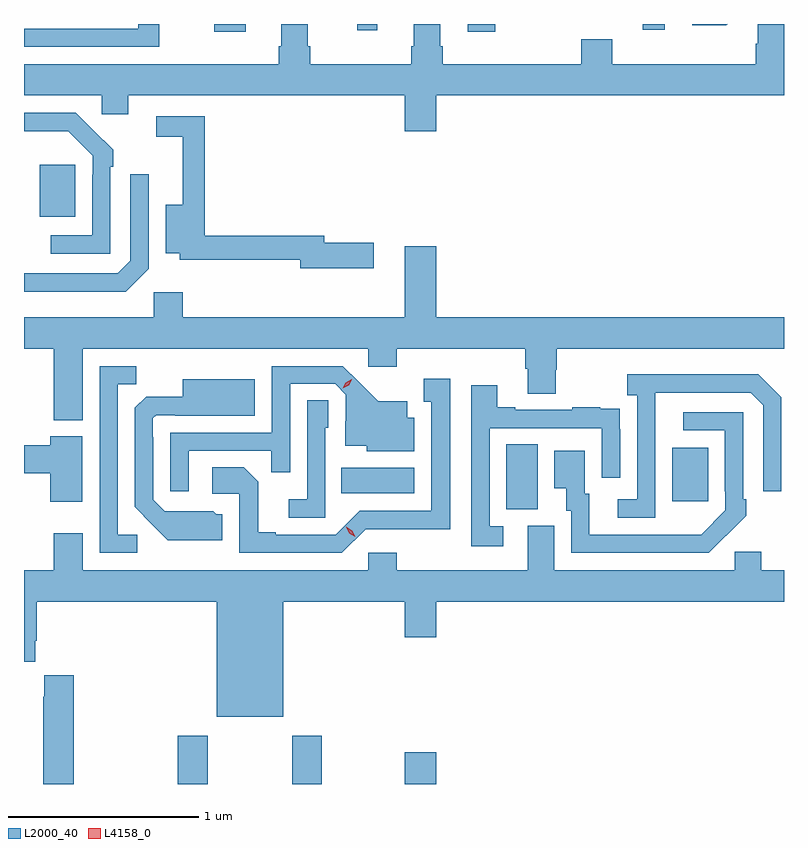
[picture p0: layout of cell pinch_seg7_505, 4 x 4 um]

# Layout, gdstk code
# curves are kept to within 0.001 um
import gdstk
lib = gdstk.Library(unit=1e-6, precision=1e-09)
def R(c, l, rs):  # rectangles x0, y0, x1, y1
    for r in rs: c.add(gdstk.rectangle(r[:2], r[2:], *l))
def P(c, l, *ps):  # polygons
    for p in ps: c.add(gdstk.Polygon(p, *l))
L2000_40 = (2000, 40)
L4158_0 = (4158, 0)

pinch_seg7_505 = lib.new_cell('pinch_seg7_505')
R(pinch_seg7_505, L2000_40, [(115.859,1074.248,116.019,1074.502), (116.464,1074.248,116.619,1074.502), (117.056,1074.248,117.22,1074.415), (117.59,1075.693,117.754,1076.036), (118.463,1075.737,118.651,1076.017), (116.722,1075.778,117.106,1075.912), (115.133,1077.233,115.321,1077.508), (116.053,1078.206,116.218,1078.248), (117.386,1078.206,117.532,1078.248), (116.806,1078.215,116.909,1078.248), (118.308,1078.218,118.423,1078.248)])
P(pinch_seg7_505, L2000_40, [(117.22,1077.872),(119.051,1077.872),(119.051,1078.248),(118.914,1078.248),(118.914,1078.145),(118.901,1078.145),(118.901,1078.036),(118.148,1078.036),(118.148,1078.169),(117.983,1078.169),(117.983,1078.036),(117.254,1078.036),(117.254,1078.132),(117.241,1078.132),(117.241,1078.248),(117.101,1078.248),(117.101,1078.132),(117.089,1078.132),(117.089,1078.036),(116.558,1078.036),(116.558,1078.132),(116.545,1078.132),(116.545,1078.248),(116.405,1078.248),(116.405,1078.132),(116.393,1078.132),(116.393,1078.036),(115.051,1078.036),(115.051,1077.872),(115.461,1077.872),(115.461,1077.774),(115.6,1077.774),(115.6,1077.872),(117.056,1077.872),(117.056,1077.684),(117.22,1077.684)],
  [(118.754,1078.248),(118.569,1078.248),(118.569,1078.241),(118.747,1078.241)],
  [(115.762,1078.248),(115.653,1078.248),(115.653,1078.224),(115.051,1078.224),(115.051,1078.128),(115.762,1078.128)],
  [(115.506,1077.497),(115.521,1077.497),(115.521,1077.585),(115.324,1077.78),(115.051,1077.78),(115.051,1077.684),(115.285,1077.684),(115.413,1077.555),(115.413,1077.455),(115.41,1077.455),(115.41,1077.135),(115.191,1077.135),(115.191,1077.039),(115.506,1077.039)],
  [(116.893,1077.098),(116.632,1077.098),(116.632,1077.134),(116.003,1077.134),(116.003,1077.762),(115.746,1077.762),(115.746,1077.654),(115.886,1077.654),(115.886,1077.298),(115.796,1077.298),(115.796,1077.041),(115.872,1077.041),(115.872,1077.006),(116.504,1077.006),(116.504,1076.963),(116.893,1076.963)],
  [(115.707,1076.961),(115.707,1077.457),(115.611,1077.457),(115.611,1077.003),(115.545,1076.937),(115.051,1076.937),(115.051,1076.84),(115.586,1076.84)],
  [(115.36,1076.54),(116.862,1076.54),(116.862,1076.445),(117.014,1076.445),(117.014,1076.54),(117.689,1076.54),(117.689,1076.434),(117.701,1076.434),(117.701,1076.302),(117.849,1076.302),(117.849,1076.427),(117.854,1076.427),(117.854,1076.54),(119.051,1076.54),(119.051,1076.704),(117.22,1076.704),(117.22,1077.079),(117.056,1077.079),(117.056,1076.704),(115.886,1076.704),(115.886,1076.836),(115.734,1076.836),(115.734,1076.704),(115.051,1076.704),(115.051,1076.54),(115.208,1076.54),(115.208,1076.162),(115.36,1076.162)],
  [(115.917,1076.001),(116.353,1076.001),(116.353,1075.888),(116.451,1075.888),(116.451,1076.355),(116.688,1076.355),(116.745,1076.298),(116.745,1076.156),(116.741,1076.156),(116.741,1076.027),(116.856,1076.027),(116.856,1076),(117.106,1076),(117.106,1076.176),(117.067,1076.176),(117.067,1076.263),(116.915,1076.263),(116.728,1076.448),(116.355,1076.448),(116.355,1076.097),(115.821,1076.097),(115.821,1075.788),(115.917,1075.788)],
  [(115.648,1075.56),(115.545,1075.56),(115.545,1076.353),(115.641,1076.353),(115.641,1076.448),(115.449,1076.448),(115.449,1075.464),(115.648,1075.464)],
  [(118.374,1076.307),(118.875,1076.307),(118.941,1076.241),(118.941,1075.788),(119.037,1075.788),(119.037,1076.283),(118.916,1076.404),(118.227,1076.404),(118.227,1076.294),(118.278,1076.294),(118.278,1075.746),(118.176,1075.746),(118.176,1075.65),(118.374,1075.65)],
  [(116.85,1075.59),(117.295,1075.589),(117.295,1076.38),(117.155,1076.38),(117.155,1076.259),(117.194,1076.259),(117.194,1075.686),(116.817,1075.686),(116.691,1075.56),(116.377,1075.56),(116.377,1075.573),(116.283,1075.573),(116.283,1075.84),(116.207,1075.916),(116.043,1075.916),(116.043,1075.776),(116.184,1075.776),(116.184,1075.464),(116.724,1075.464)],
  [(116.095,1075.668),(116.064,1075.668),(116.048,1075.684),(115.791,1075.683),(115.731,1075.743),(115.731,1076.072),(115.728,1076.072),(115.728,1076.172),(115.746,1076.19),(115.846,1076.19),(115.846,1076.186),(116.266,1076.186),(116.266,1076.377),(115.886,1076.377),(115.886,1076.287),(115.694,1076.287),(115.635,1076.228),(115.635,1075.706),(115.807,1075.532),(116.095,1075.532)],
  [(117.574,1075.605),(117.501,1075.605),(117.501,1076.121),(118.092,1076.121),(118.092,1075.86),(118.188,1075.86),(118.188,1076.114),(118.187,1076.114),(118.187,1076.223),(118.085,1076.223),(118.085,1076.23),(117.937,1076.23),(117.937,1076.217),(117.637,1076.217),(117.637,1076.23),(117.541,1076.23),(117.541,1076.347),(117.405,1076.347),(117.405,1075.5),(117.574,1075.5)],
  [(116.637,1076.124),(116.652,1076.124),(116.652,1076.267),(116.541,1076.267),(116.541,1075.747),(116.445,1075.747),(116.445,1075.65),(116.637,1075.65)],
  [(118.745,1075.555),(118.746,1075.554),(118.851,1075.659),(118.851,1075.747),(118.836,1075.747),(118.836,1076.205),(118.521,1076.205),(118.521,1076.109),(118.74,1076.109),(118.74,1075.789),(118.743,1075.789),(118.743,1075.689),(118.615,1075.561),(118.027,1075.56),(118.027,1075.776),(118.003,1075.776),(118.003,1076.002),(117.842,1076.002),(117.842,1075.805),(117.905,1075.805),(117.905,1075.686),(117.93,1075.686),(117.93,1075.464),(118.654,1075.464)],
  [(115.357,1076.077),(115.19,1076.077),(115.19,1076.03),(115.051,1076.03),(115.051,1075.883),(115.19,1075.883),(115.19,1075.734),(115.357,1075.734)],
  [(116.416,1075.208),(117.056,1075.208),(117.056,1075.02),(117.22,1075.02),(117.22,1075.208),(119.051,1075.208),(119.051,1075.372),(118.93,1075.372),(118.93,1075.47),(118.791,1075.47),(118.791,1075.372),(117.841,1075.372),(117.841,1075.608),(117.701,1075.608),(117.701,1075.372),(117.014,1075.372),(117.014,1075.465),(116.862,1075.465),(116.862,1075.372),(115.36,1075.372),(115.36,1075.567),(115.208,1075.567),(115.208,1075.372),(115.051,1075.372),(115.051,1074.891),(115.111,1074.891),(115.111,1075.003),(115.118,1075.003),(115.118,1075.208),(116.066,1075.208),(116.066,1074.602),(116.416,1074.602)],
  [(115.313,1074.82),(115.157,1074.82),(115.157,1074.707),(115.153,1074.707),(115.153,1074.248),(115.313,1074.248)])
P(pinch_seg7_505, L4158_0, [(116.794,1075.549),(116.763,1075.568),(116.746,1075.601),(116.746,1075.602),(116.746,1075.602),(116.778,1075.582),(116.794,1075.549),(116.794,1075.549)],
  [(116.729,1076.331),(116.729,1076.331),(116.745,1076.361),(116.776,1076.377),(116.776,1076.377),(116.776,1076.376),(116.759,1076.347),(116.729,1076.331)])

lib.write_gds('pinch_seg7_505.gds')
